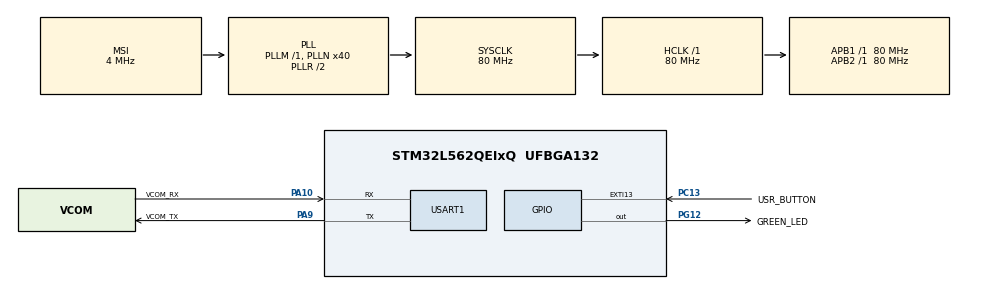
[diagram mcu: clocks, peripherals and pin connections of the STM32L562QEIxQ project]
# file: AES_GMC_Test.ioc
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AES.Algorithm=CRYP_AES_GCM_GMAC
AES.DataType=CRYP_DATATYPE_32B
AES.DataWidthUnit=CRYP_DATAWIDTHUNIT_WORD
AES.HeaderSize=1
AES.KeyIVConfigSkip=CRYP_KEYIVCONFIG_ALWAYS
AES.pInitVect=B3D8CC01 7CBB89B3 9E0F67E2 00000002
AES.pKey=C939CC13 397C1D37 DE6AE0E1 CB7C423C
Mcu.Family=STM32L5
Mcu.Name=STM32L562QEIxQ
Mcu.Package=UFBGA132
NVIC.AES_IRQn=true\:0\:0\:false\:false\:true\:true\:true\:true
NVIC.EXTI13_IRQn=true\:0\:0\:false\:false\:true\:true\:true\:true
NVIC.PriorityGroup=NVIC_PRIORITYGROUP_3
NVIC.USART1_IRQn=true\:0\:0\:false\:false\:true\:true\:true\:true
PA10.GPIO_Label=VCOM_RX
PA10.GPIO_PuPd=GPIO_NOPULL
PA10.GPIO_Speed=GPIO_SPEED_FREQ_VERY_HIGH
PA10.Mode=Asynchronous
PA10.Signal=USART1_RX
PA9.GPIO_Label=VCOM_TX
PA9.GPIO_PuPd=GPIO_NOPULL
PA9.GPIO_Speed=GPIO_SPEED_FREQ_VERY_HIGH
PA9.Mode=Asynchronous
PA9.Signal=USART1_TX
PC13.GPIO_Label=USR_BUTTON
PC13.Signal=GPXTI13
PG12.GPIO_Label=GREEN_LED
PG12.GPIO_Speed=GPIO_SPEED_FREQ_LOW
PG12.Signal=GPIO_Output
ProjectManager.HeapSize=0x200
ProjectManager.StackSize=0x400
ProjectManager.TargetToolchain=STM32CubeIDE
RCC.AHBFreq_Value=80000000
RCC.APB1Freq_Value=80000000
RCC.APB1TimFreq_Value=80000000
RCC.APB2Freq_Value=80000000
RCC.APB2TimFreq_Value=80000000
RCC.CortexFreq_Value=80000000
RCC.HCLKFreq_Value=80000000
RCC.HSE_VALUE=16000000
RCC.HSI48_VALUE=48000000
RCC.HSI_VALUE=16000000
RCC.LSE_VALUE=32768
RCC.MSI_VALUE=4000000
RCC.PLLN=40
RCC.SYSCLKFreq_VALUE=80000000
RCC.SYSCLKSource=RCC_SYSCLKSOURCE_PLLCLK
RCC.VCOOutputFreq_Value=160000000
USART1.VirtualMode-Asynchronous=VM_ASYNC
VP_AES_VS_AES.Mode=AES_Activate
VP_ICACHE_VS_ICACHE.Mode=DirectMappedCache
VP_PWR_VS_DBSignals.Mode=DisableDeadBatterySignals
VP_PWR_VS_SECSignals.Mode=Security/Privilege
board=custom

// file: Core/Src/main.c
/* USER CODE BEGIN Header */
/* USER CODE END Header */
#include "main.h"

/* USER CODE BEGIN Includes */
#include "GCM.h"
/* USER CODE END Includes */

 CRYP_HandleTypeDef hcryp;
__ALIGN_BEGIN static const uint32_t pKeyAES[4] __ALIGN_END = {
                            0xC939CC13,0x397C1D37,0xDE6AE0E1,0xCB7C423C};
__ALIGN_BEGIN static const uint32_t pInitVectAES[4] __ALIGN_END = {
                            0xB3D8CC01,0x7CBB89B3,0x9E0F67E2,0x00000002};
__ALIGN_BEGIN static const uint32_t HeaderAES[1] __ALIGN_END = {
                            0x00000000};

UART_HandleTypeDef huart1;

/* USER CODE BEGIN PV */
CRYP_ConfigTypeDef pconf;

uint8_t cm = 0,m=0,ed=0;
uint32_t TIMEOUT = 0xFFFFFF;
int a,b,i,j,k;

OperationCase State = STATE_RESET;
ChainingMode chainingMode = CM_NONE;
BitMode bitMode = BM_NONE;
OperationMode operationMode = OM_NONE;
/* USER CODE END PV */

void SystemClock_Config(void);
static void MX_GPIO_Init(void);
static void MX_ICACHE_Init(void);
static void MX_AES_Init(void);
static void MX_USART1_UART_Init(void);
/* USER CODE BEGIN PFP */
void selectChainingMode(ChainingMode* chainingMode);
void selectBitMode(BitMode* bitMode);
void selectOperation(OperationMode* operation);
void operation_state(void);

/* USER CODE END PFP */

/* USER CODE BEGIN 0 */
void vprint(const char *fmt,va_list argp){
	char string[200];
	if(0<vsprintf(string,fmt,argp)){

		HAL_UART_Transmit(&huart1,(uint8_t*)string,strlen(string),0xFFFFFF);

	}
}
void debug_printf(const char *fmt, ...){
	va_list argp;
	va_start(argp,fmt);
	vprint(fmt,argp);
	va_end(argp);
}
/* USER CODE END 0 */

int main(void)
{

  /* MCU Configuration--------------------------------------------------------*/

  /* Reset of all peripherals, Initializes the Flash interface and the Systick. */
  HAL_Init();

  /* Configure the system clock */
  SystemClock_Config();

  /* Initialize all configured peripherals */
  MX_GPIO_Init();
  MX_ICACHE_Init();
  MX_AES_Init();
  MX_USART1_UART_Init();
  /* USER CODE BEGIN 2 */
  State++;
  /* USER CODE END 2 */

  /* Infinite loop */
  while(1) {

	/* USER CODE BEGIN WHILE */
	  operation_state();
	/* USER CODE END WHILE */

  }
}

void SystemClock_Config(void)
{
  RCC_OscInitTypeDef RCC_OscInitStruct = {0};
  RCC_ClkInitTypeDef RCC_ClkInitStruct = {0};

  /** Configure the main internal regulator output voltage
  */
  if (HAL_PWREx_ControlVoltageScaling(PWR_REGULATOR_VOLTAGE_SCALE1) != HAL_OK)
  {
    Error_Handler();
  }

  /** Initializes the RCC Oscillators according to the specified parameters
  * in the RCC_OscInitTypeDef structure.
  */
  RCC_OscInitStruct.OscillatorType = RCC_OSCILLATORTYPE_MSI;
  RCC_OscInitStruct.MSIState = RCC_MSI_ON;
  RCC_OscInitStruct.MSICalibrationValue = RCC_MSICALIBRATION_DEFAULT;
  RCC_OscInitStruct.MSIClockRange = RCC_MSIRANGE_6;
  RCC_OscInitStruct.PLL.PLLState = RCC_PLL_ON;
  RCC_OscInitStruct.PLL.PLLSource = RCC_PLLSOURCE_MSI;
  RCC_OscInitStruct.PLL.PLLM = 1;
  RCC_OscInitStruct.PLL.PLLN = 40;
  RCC_OscInitStruct.PLL.PLLP = RCC_PLLP_DIV7;
  RCC_OscInitStruct.PLL.PLLQ = RCC_PLLQ_DIV2;
  RCC_OscInitStruct.PLL.PLLR = RCC_PLLR_DIV2;
  if (HAL_RCC_OscConfig(&RCC_OscInitStruct) != HAL_OK)
  {
    Error_Handler();
  }

  /** Initializes the CPU, AHB and APB buses clocks
  */
  RCC_ClkInitStruct.ClockType = RCC_CLOCKTYPE_HCLK|RCC_CLOCKTYPE_SYSCLK
                              |RCC_CLOCKTYPE_PCLK1|RCC_CLOCKTYPE_PCLK2;
  RCC_ClkInitStruct.SYSCLKSource = RCC_SYSCLKSOURCE_PLLCLK;
  RCC_ClkInitStruct.AHBCLKDivider = RCC_SYSCLK_DIV1;
  RCC_ClkInitStruct.APB1CLKDivider = RCC_HCLK_DIV1;
  RCC_ClkInitStruct.APB2CLKDivider = RCC_HCLK_DIV1;

  if (HAL_RCC_ClockConfig(&RCC_ClkInitStruct, FLASH_LATENCY_3) != HAL_OK)
  {
    Error_Handler();
  }
}

static void MX_AES_Init(void)
{

  hcryp.Instance = AES;
  hcryp.Init.DataType = CRYP_DATATYPE_32B;
  hcryp.Init.KeySize = CRYP_KEYSIZE_128B;
  hcryp.Init.pKey = (uint32_t *)pKeyAES;
  hcryp.Init.pInitVect = (uint32_t *)pInitVectAES;
  hcryp.Init.Algorithm = CRYP_AES_GCM_GMAC;
  hcryp.Init.Header = (uint32_t *)HeaderAES;
  hcryp.Init.HeaderSize = 1;
  hcryp.Init.DataWidthUnit = CRYP_DATAWIDTHUNIT_WORD;
  hcryp.Init.KeyIVConfigSkip = CRYP_KEYIVCONFIG_ALWAYS;
  if (HAL_CRYP_Init(&hcryp) != HAL_OK)
  {
    Error_Handler();
  }

}

static void MX_ICACHE_Init(void)
{

  /** Enable instruction cache in 1-way (direct mapped cache)
  */
  if (HAL_ICACHE_ConfigAssociativityMode(ICACHE_1WAY) != HAL_OK)
  {
    Error_Handler();
  }
  if (HAL_ICACHE_Enable() != HAL_OK)
  {
    Error_Handler();
  }

}

static void MX_USART1_UART_Init(void)
{

  huart1.Instance = USART1;
  huart1.Init.BaudRate = 115200;
  huart1.Init.WordLength = UART_WORDLENGTH_8B;
  huart1.Init.StopBits = UART_STOPBITS_1;
  huart1.Init.Parity = UART_PARITY_NONE;
  huart1.Init.Mode = UART_MODE_TX_RX;
  huart1.Init.HwFlowCtl = UART_HWCONTROL_NONE;
  huart1.Init.OverSampling = UART_OVERSAMPLING_16;
  huart1.Init.OneBitSampling = UART_ONE_BIT_SAMPLE_DISABLE;
  huart1.Init.ClockPrescaler = UART_PRESCALER_DIV1;
  huart1.AdvancedInit.AdvFeatureInit = UART_ADVFEATURE_NO_INIT;
  if (HAL_UART_Init(&huart1) != HAL_OK)
  {
    Error_Handler();
  }
  if (HAL_UARTEx_SetTxFifoThreshold(&huart1, UART_TXFIFO_THRESHOLD_1_8) != HAL_OK)
  {
    Error_Handler();
  }
  if (HAL_UARTEx_SetRxFifoThreshold(&huart1, UART_RXFIFO_THRESHOLD_1_8) != HAL_OK)
  {
    Error_Handler();
  }
  if (HAL_UARTEx_DisableFifoMode(&huart1) != HAL_OK)
  {
    Error_Handler();
  }

}

static void MX_GPIO_Init(void)
{
  GPIO_InitTypeDef GPIO_InitStruct = {0};

  /* GPIO Ports Clock Enable */
  __HAL_RCC_GPIOG_CLK_ENABLE();
  HAL_PWREx_EnableVddIO2();
  __HAL_RCC_GPIOC_CLK_ENABLE();
  __HAL_RCC_GPIOA_CLK_ENABLE();

  /*Configure GPIO pin Output Level */
  HAL_GPIO_WritePin(GREEN_LED_GPIO_Port, GREEN_LED_Pin, GPIO_PIN_RESET);

  /*Configure GPIO pin : GREEN_LED_Pin */
  GPIO_InitStruct.Pin = GREEN_LED_Pin;
  GPIO_InitStruct.Mode = GPIO_MODE_OUTPUT_PP;
  GPIO_InitStruct.Pull = GPIO_NOPULL;
  GPIO_InitStruct.Speed = GPIO_SPEED_FREQ_LOW;
  HAL_GPIO_Init(GREEN_LED_GPIO_Port, &GPIO_InitStruct);

  /*Configure GPIO pin : USR_BUTTON_Pin */
  GPIO_InitStruct.Pin = USR_BUTTON_Pin;
  GPIO_InitStruct.Mode = GPIO_MODE_IT_RISING;
  GPIO_InitStruct.Pull = GPIO_NOPULL;
  HAL_GPIO_Init(USR_BUTTON_GPIO_Port, &GPIO_InitStruct);

  /* EXTI interrupt init*/
  HAL_NVIC_SetPriority(EXTI13_IRQn, 0, 0);
  HAL_NVIC_EnableIRQ(EXTI13_IRQn);

}

/* USER CODE BEGIN 4 */
/*
 * @brief
 */
void selectChainingMode(ChainingMode* chainingMode) {
	debug_printf("\nSelect one of the chainning modes:");
	debug_printf("\n\r1: GCM");
	debug_printf("\n\r2: CTR");
	debug_printf("\n\r3: ECB\n");
	HAL_UART_Receive (&huart1,&cm, 1, TIMEOUT);

	switch (cm) {
		case 0x31:
			*chainingMode = GCM;
			debug_printf("\nSelected chaining mode: ECB\n");
			break;

		case 0x32:
			*chainingMode = CTR;
			debug_printf("\nSelected chaining mode: CTR\n");
			break;

		case 0x33:
			*chainingMode = ECB;
			debug_printf("\nSelected chaining mode: GCM\n");
			break;

		default:
			debug_printf("\n\rInvalid input");
			break;

	}

}

/**
 * @brief
 */
void selectBitMode(BitMode* bitMode) {
	debug_printf("\n\rSelect Mode: ");
	debug_printf("\n\r1: 128-bit");
	debug_printf("\n\r2: 256-bit\n");
	HAL_UART_Receive(&huart1,&m,1,TIMEOUT);

	switch (m) {
		case 0x31:
			*bitMode = key_128_Bit;
			debug_printf("\nSelected  mode: key_128_Bit\n");
			break;

		case 0x32:
			*bitMode = key_256_Bit;
			debug_printf("\nSelected  mode: key_256_Bit\n");
			break;

		default:
			debug_printf("\n\rInvalid input");
			break;

	}
}

/**
 * @brief
 */
void selectOperation(OperationMode* operation) {
	debug_printf("\n\rSelect one of the following: ");
	debug_printf("\n\r1: Encryption");
	debug_printf("\n\r2: Decryption\n\r");
	HAL_UART_Receive(&huart1,&ed,1,TIMEOUT);

	switch (ed) {
		case 0x31:
			*operation = Encrypt;
			debug_printf("\nSelected  operation: Encrypt\n");
			break;

		case 0x32:
			*operation = Decrypt;
			debug_printf("\nSelected  operation: Decrypt\n");
			break;

		default:
			debug_printf("\n\rInvalid input");
			break;

	}
}

/**
 * @brief
 */
void operation_state(void) {
	switch(State) {
		case USER_INPUT:
			chainingMode = CM_NONE;
			bitMode = BM_NONE;
			operationMode = OM_NONE;
			selectChainingMode(&chainingMode);
			selectBitMode(&bitMode);
			selectOperation(&operationMode);
			State = chainingMode ^ bitMode ^ operationMode;
			break;
		case GCM_128_Encrypt:
			debug_printf("\n***********GCM 128 bit Encryption************\n");
			GCM_128_Encryption();
			break;
		case GCM_128_Decrypt:
			debug_printf("\n***********GCM 128 bit Decryption************\n");
			GCM_128_Decryption();
			break;
		case GCM_256_Encrypt:
			debug_printf("\n***********GCM 256 bit Encryption************\n");
			GCM_256_Encryption();
			break;
		case GCM_256_Decrypt:
			debug_printf("\n***********GCM 256 bit Decryption************\n");
			GCM_256_Decryption();
			break;
		default:
			break;
	}
}

/**
 *
 */
void Display_PlainData(uint8_t *plaintext128, uint32_t datalength)
{
	uint32_t BufferCounter = 0;
	uint8_t * ptr = (uint8_t *)plaintext128;

	debug_printf("\n\rPlain Data in register:");

	for (BufferCounter = 0; BufferCounter < datalength; BufferCounter++)
	{
		debug_printf("%02x",(*ptr++));
	}
}

void Display_key(uint8_t *key128,uint32_t datalength)
{
	uint32_t BufferCounter = 0;
	uint8_t * ptr = (uint8_t *)key128;

	debug_printf("\n\rKey in register:");

	for (BufferCounter = 0; BufferCounter < datalength; BufferCounter++)
	{
		debug_printf("%02x", (*ptr++));
	}
}

void Display_IV(uint8_t *IV128,uint32_t datalength)
{
	uint32_t BufferCounter = 0;
	uint8_t * ptr = (uint8_t *)IV128;

	debug_printf("\n\rIV value in register:");

	for (BufferCounter = 0; BufferCounter < datalength; BufferCounter++)
	{
		debug_printf("%02x", (*ptr++));
	}
}

void Display_EncryptedData(uint32_t *encryptedtext, uint8_t mode, uint16_t keysize, uint32_t datalength)
{
	int BufferCounter = 0;
	uint8_t * ptr = (uint8_t *)encryptedtext;

	debug_printf("\n\n\rOutput: Encrypted Data with AES %d  Mode  ", keysize);

	if (mode == 0x31)
	{
		debug_printf("ECB\n\r");
	}
	else if (mode == 0x32)
	{
		debug_printf("CTR\n\r");
	}
	else if(mode == 0x33)
	{
		debug_printf("GCM\n\r");
	}
	debug_printf("==================================================\n\r");

	for (BufferCounter = 0; BufferCounter < datalength;BufferCounter=BufferCounter+4)
	{
		for(a=3;a>=0;a--)
		{
			debug_printf("%02x", *(ptr+BufferCounter+a));
		}
	}

}

void Display_DecryptedData(uint32_t *decryptedtext, uint8_t mode, uint16_t keysize, uint32_t datalength)
{
  int BufferCounter = 0;
	uint8_t * ptr = (uint8_t *)decryptedtext;

	debug_printf("\n\n\rOutput: Decrypted Data with AES %d  Mode  ", keysize);

	if (mode == 0x31)
	{
		debug_printf("ECB\n\r");
	}
	else if (mode == 0x32)
	{
		debug_printf("CTR\n\r");
	}
	else if(mode == 0x33)
	{
		debug_printf("GCM\n\r");
	}
	debug_printf("==================================================\n\r");

	for (BufferCounter = 0; BufferCounter < datalength;BufferCounter=BufferCounter+4)
	{
		for(a=3;a>=0;a--)
		{
			debug_printf("%02x", *(ptr+BufferCounter+a));
		}
	}

}

void Display_Header(uint8_t *Header128,uint32_t datalength)
{

	uint32_t BufferCounter = 0;

	uint8_t * ptr = (uint8_t *)Header128;

	debug_printf("\n\rHeader value in register:");

	for (BufferCounter = 0; BufferCounter < datalength; BufferCounter++)
	{
		debug_printf("%02x", (*ptr++));
	}
}

void Display_AuthTAG(uint32_t *AuthTAG, uint8_t mode, uint16_t keysize, uint32_t datalength)
{
	int BufferCounter = 0;
	uint8_t * ptr = (uint8_t *)AuthTAG;

	debug_printf("\n\n\rOutput: Authentication Tag with AES %d  Mode  ", keysize);

	if (mode == 0x31)
	{
		debug_printf("ECB\n\r");
	}
	else if (mode == 0x32)
	{
		debug_printf("CTR\n\r");
	}
	else if(mode == 0x33)
	{
		debug_printf("GCM\n\r");
	}

	debug_printf("==================================================\n\r");
	for (BufferCounter = 0; BufferCounter < datalength;BufferCounter=BufferCounter+4)
	{
		for(a=3;a>=0;a--)
		{
			debug_printf("%02x", *(ptr+BufferCounter+a));
		}
	}

}
/* USER CODE END 4 */

void Error_Handler(void)
{
}
